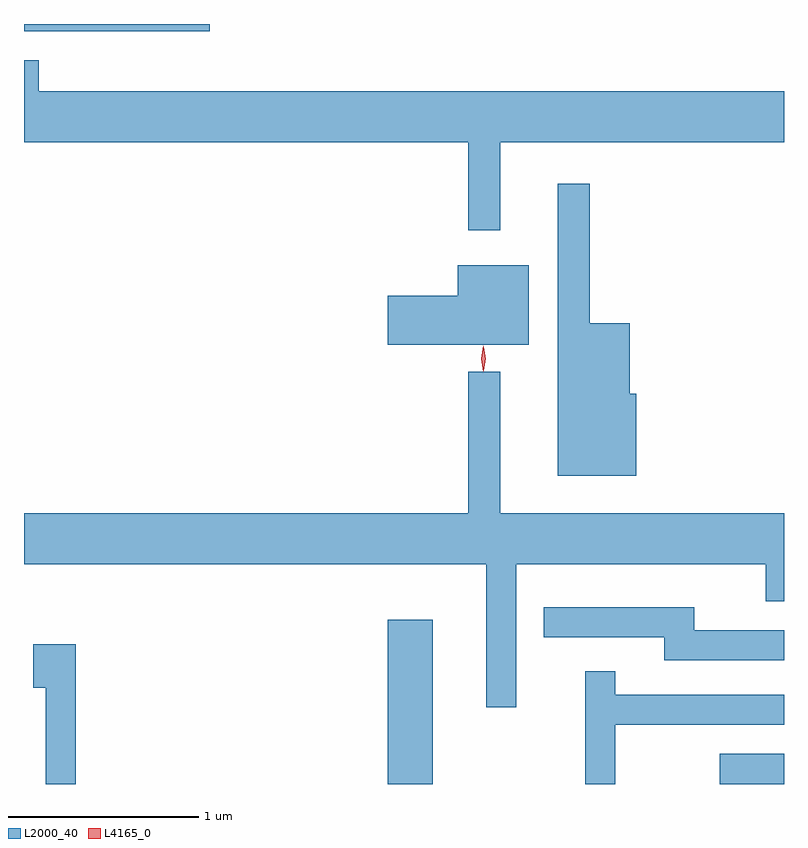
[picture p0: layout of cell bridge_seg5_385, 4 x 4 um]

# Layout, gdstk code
import gdstk
lib = gdstk.Library(unit=1e-6, precision=1e-09)
def R(c, l, rs):  # rectangles x0, y0, x1, y1
    for r in rs: c.add(gdstk.rectangle(r[:2], r[2:], *l))
def P(c, l, *ps):  # polygons
    for p in ps: c.add(gdstk.Polygon(p, *l))
L2000_40 = (2000, 40)
L4165_0 = (4165, 0)

bridge_seg5_385 = lib.new_cell('bridge_seg5_385')
R(bridge_seg5_385, L2000_40, [(438.406,1513.359,438.644,1514.224), (440.153,1513.359,440.492,1513.519), (436.492,1517.321,437.469,1517.359)])
P(bridge_seg5_385, L2000_40, [(438.999,1516.736),(440.492,1516.736),(440.492,1517.004),(436.569,1517.004),(436.569,1517.169),(436.492,1517.169),(436.492,1516.736),(438.831,1516.736),(438.831,1516.273),(438.999,1516.273)],
  [(439.714,1515.414),(439.679,1515.414),(439.679,1515.784),(439.469,1515.784),(439.469,1516.518),(439.301,1516.518),(439.301,1514.981),(439.714,1514.981)],
  [(439.149,1516.089),(438.776,1516.089),(438.776,1515.929),(438.406,1515.929),(438.406,1515.671),(439.149,1515.671)],
  [(439.084,1514.516),(440.396,1514.516),(440.396,1514.321),(440.492,1514.321),(440.492,1514.784),(438.999,1514.784),(438.999,1515.528),(438.831,1515.528),(438.831,1514.784),(436.492,1514.784),(436.492,1514.516),(438.926,1514.516),(438.926,1513.763),(439.084,1513.763)],
  [(440.492,1514.169),(440.019,1514.169),(440.019,1514.289),(439.228,1514.289),(439.228,1514.131),(439.861,1514.131),(439.861,1514.011),(440.492,1514.011)],
  [(436.764,1514.094),(436.541,1514.094),(436.541,1513.866),(436.606,1513.866),(436.606,1513.359),(436.764,1513.359)],
  [(439.604,1513.671),(440.492,1513.671),(440.492,1513.829),(439.604,1513.829),(439.604,1513.953),(439.446,1513.953),(439.446,1513.359),(439.604,1513.359)])
P(bridge_seg5_385, L4165_0, [(438.912,1515.533),(438.912,1515.533),(438.902,1515.596),(438.912,1515.659),(438.912,1515.66),(438.913,1515.659),(438.922,1515.596),(438.913,1515.533)],
  [(438.909,1515.53),(438.909,1515.53),(438.899,1515.598),(438.908,1515.666),(438.908,1515.666),(438.909,1515.666),(438.919,1515.598),(438.91,1515.53)])

lib.write_gds('bridge_seg5_385.gds')
